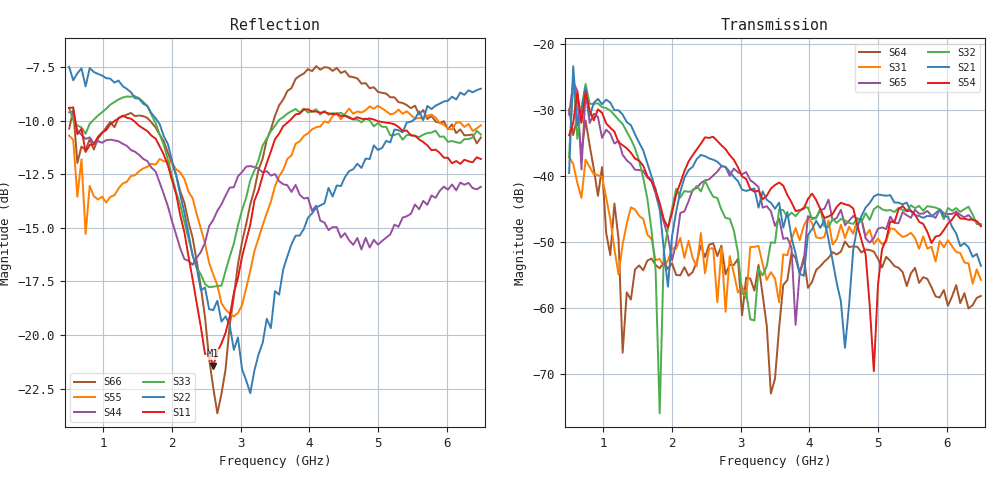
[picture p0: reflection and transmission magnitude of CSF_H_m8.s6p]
!Keysight Technologies,M9804A,MY58100912,A.14.10.03
!Date: Thursday, April 27, 2023 10:28:33
!Correction: S11(C  6-Port  )
!S12(C  6-Port  )
!S13(C  6-Port  )
!S14(C  6-Port  )
!S15(C  6-Port  )
!S16(C  6-Port  )
!S21(C  6-Port  )
!S22(C  6-Port  )
!S23(C  6-Port  )
!S24(C  6-Port  )
!S25(C  6-Port  )
!S26(C  6-Port  )
!S31(C  6-Port  )
!S32(C  6-Port  )
!S33(C  6-Port  )
!S34(C  6-Port  )
!S35(C  6-Port  )
!S36(C  6-Port  )
!S41(C  6-Port  )
!S42(C  6-Port  )
!S43(C  6-Port  )
!S44(C  6-Port  )
!S45(C  6-Port  )
!S46(C  6-Port  )
!S51(C  6-Port  )
!S52(C  6-Port  )
!S53(C  6-Port  )
!S54(C  6-Port  )
!S55(C  6-Port  )
!S56(C  6-Port  )
!S61(C  6-Port  )
!S62(C  6-Port  )
!S63(C  6-Port  )
!S64(C  6-Port  )
!S65(C  6-Port  )
!S66(C  6-Port  )
!S6P File: Measurement: :
# Hz S  RI  R 50
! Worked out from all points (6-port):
!   101 points, 500 MHz to 6.5 GHz, reference 50 ohm
!   strongest paths, dB at 500 MHz, 2 GHz, 3.5 GHz, 5 GHz, 6.5 GHz:
!     S54: -33.9, -45.6, -41.4, -56.5, -47.6
!     S21: -39.6, -49.1, -45.0, -42.8, -53.6
!     S32: -37.0, -45.0, -50.2, -44.6, -47.3
!     S65: -30.8, -52.8, -47.6, -48.0, -47.5
!     S31: -37.2, -51.0, -55.6, -49.5, -55.8
!     S64: -29.9, -53.2, -70.7, -52.5, -58.2
!   lowest |S11| = -21.4 dB at 2.6 GHz (marker M1), VSWR 1.19, Z = 42.5 + j2.18 ohm
!   |S11| at or under -10 dB: 589.6 MHz to 1.173 GHz (583.9 MHz wide, 66.2 % of centre); 1.434 GHz to 3.715 GHz (2.281 GHz wide, 88.6 % of centre); 4.975 GHz to end of sweep
